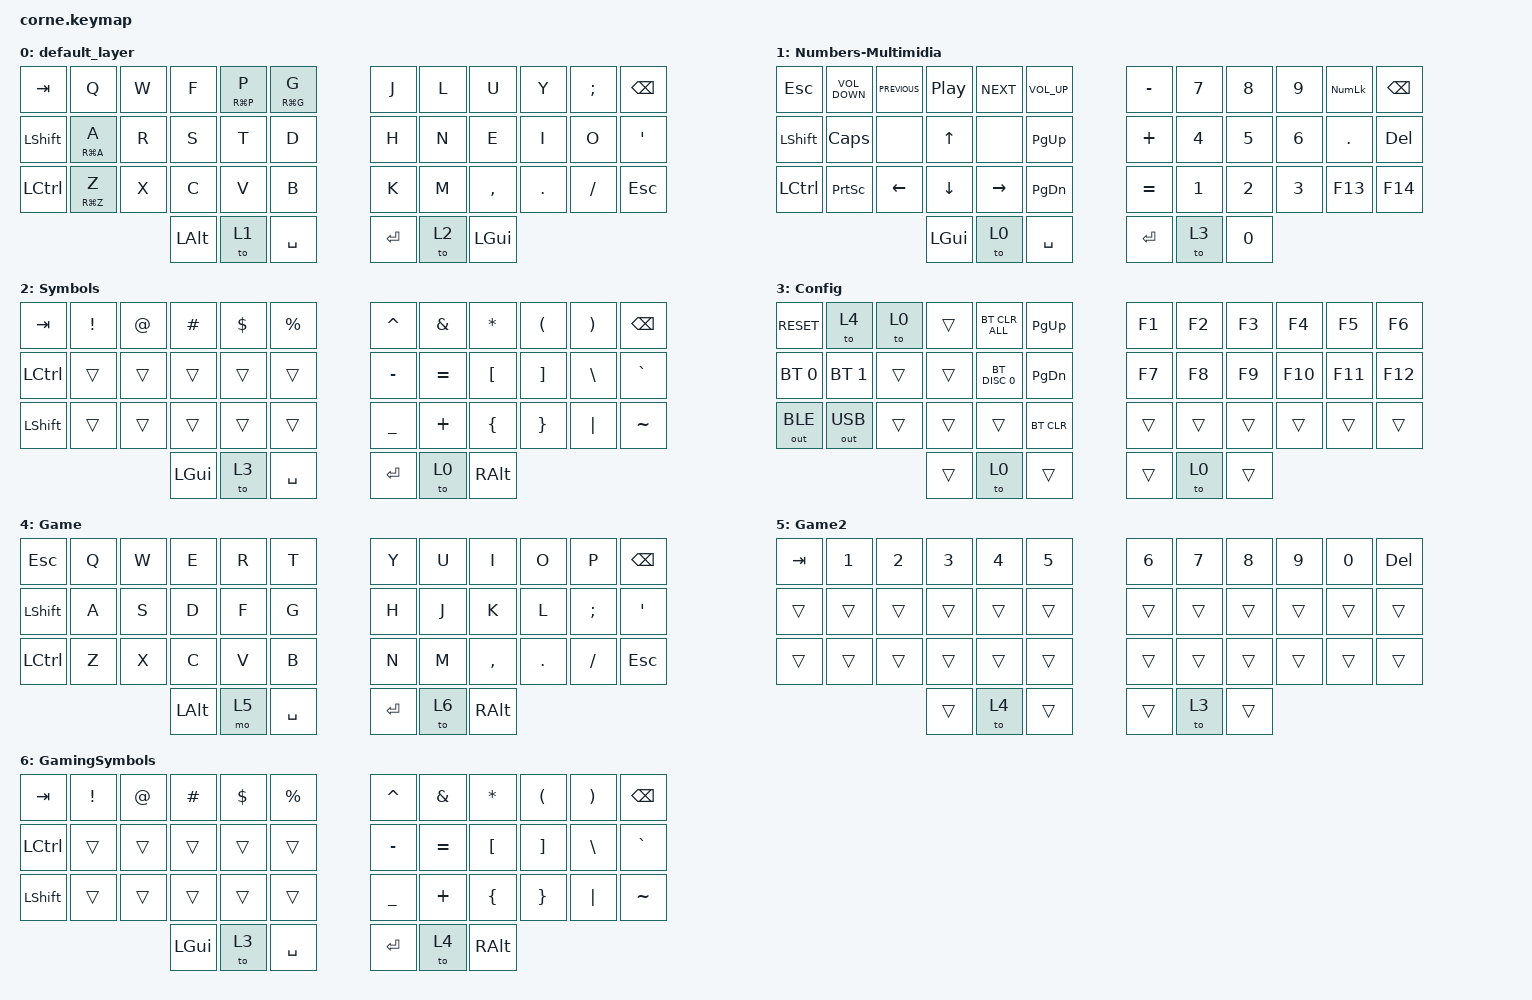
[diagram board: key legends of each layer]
/*
 * Copyright (c) 2020 The ZMK Contributors
 *
 * SPDX-License-Identifier: MIT
 */

#include <behaviors.dtsi>
#include <dt-bindings/zmk/bt.h>
#include <dt-bindings/zmk/keys.h>
#include <dt-bindings/zmk/outputs.h>

/ {
    behaviors {
        new_behavior: new_behavior {
            compatible = "zmk,behavior-hold-tap";
            label = "NEW_BEHAVIOR";
            bindings = <&none>, <&none>;

            #binding-cells = <2>;
            tapping-term-ms = <200>;
        };
    };

    keymap {
        compatible = "zmk,keymap";

        default_layer {
            // -----------------------------------------------------------------------------------------
            // |  TAB |  Q  |  W  |  E  |  R  |  T  |   |  Y  |  U   |  I  |  O  |  P  | BKSP |
            // | CTRL |  A  |  S  |  D  |  F  |  G  |   |  H  |  J   |  K  |  L  |  ;  |  '   |
            // | SHFT |  Z  |  X  |  C  |  V  |  B  |   |  N  |  M   |  ,  |  .  |  /  | ESC  |
            //                    | GUI | LWR | SPC |   | ENT | RSE  | ALT |

            bindings = <
&kp TAB           &kp Q        &kp W  &kp F         &mt RG(P) P  &mt RG(G) G    &kp J    &kp L  &kp U         &kp Y    &kp SEMICOLON  &kp BSPC
&kp LEFT_SHIFT    &mt RG(A) A  &kp R  &kp S         &kp T        &kp D          &kp H    &kp N  &kp E         &kp I    &kp O          &kp SQT
&kp LEFT_CONTROL  &mt RG(Z) Z  &kp X  &kp C         &kp V        &kp B          &kp K    &kp M  &kp COMMA     &kp DOT  &kp FSLH       &kp ESC
                                      &kp LEFT_ALT  &to 1        &kp SPACE      &kp RET  &to 2  &kp LEFT_GUI
            >;
        };

        Numbers-Multimidia {
            // -----------------------------------------------------------------------------------------
            // |  TAB |  1  |  2  |  3  |  4  |  5  |   |  6  |  7  |  8  |  9  |  0  | BKSP |
            // | BTCLR| BT1 | BT2 | BT3 | BT4 | BT5 |   | LFT | DWN |  UP | RGT |     |      |
            // | SHFT |     |     |     |     |     |   |     |     |     |     |     |      |
            //                    | GUI |     | SPC |   | ENT |     | ALT |

            bindings = <
&kp ESCAPE        &kp C_VOLUME_DOWN  &kp C_PREVIOUS  &kp C_PLAY_PAUSE  &kp C_NEXT       &kp C_VOLUME_UP    &kp MINUS  &kp N7        &kp N8        &kp N9        &kp KP_NUMLOCK  &kp BSPC
&kp LEFT_SHIFT    &kp CAPSLOCK       &none           &kp UP_ARROW      &none            &kp PAGE_UP        &kp PLUS   &kp NUMBER_4  &kp N5        &kp NUMBER_6  &kp PERIOD      &kp DELETE
&kp LEFT_CONTROL  &kp PRINTSCREEN    &kp LEFT_ARROW  &kp DOWN_ARROW    &kp RIGHT_ARROW  &kp PAGE_DOWN      &kp EQUAL  &kp NUMBER_1  &kp NUMBER_2  &kp NUMBER_3  &kp F13         &kp F14
                                                     &kp LGUI          &to 0            &kp SPACE          &kp RET    &to 3         &kp N0
            >;
        };

        Symbols {
            // -----------------------------------------------------------------------------------------
            // |  TAB |  !  |  @  |  #  |  $  |  %  |   |  ^  |  &  |  *  |  (  |  )  | BKSP |
            // | CTRL |     |     |     |     |     |   |  -  |  =  |  [  |  ]  |  \  |  `   |
            // | SHFT |     |     |     |     |     |   |  _  |  +  |  {  |  }  | "|" |  ~   |
            //                    | GUI |     | SPC |   | ENT |     | ALT |

            bindings = <
&kp TAB    &kp EXCL  &kp AT  &kp HASH  &kp DLLR  &kp PRCNT    &kp CARET  &kp AMPS   &kp ASTRK  &kp LPAR  &kp RPAR  &kp BSPC
&kp LCTRL  &trans    &trans  &trans    &trans    &trans       &kp MINUS  &kp EQUAL  &kp LBKT   &kp RBKT  &kp BSLH  &kp GRAVE
&kp LSHFT  &trans    &trans  &trans    &trans    &trans       &kp UNDER  &kp PLUS   &kp LBRC   &kp RBRC  &kp PIPE  &kp TILDE
                             &kp LGUI  &to 3     &kp SPACE    &kp RET    &to 0      &kp RALT
            >;
        };

        Config {
            bindings = <
&kp C_RESET   &to 4         &to 0   &trans  &bt BT_CLR_ALL  &kp PAGE_UP      &kp F1  &kp F2  &kp F3  &kp F4   &kp F5   &kp F6
&bt BT_SEL 0  &bt BT_SEL 1  &trans  &trans  &bt BT_DISC 0   &kp PAGE_DOWN    &kp F7  &kp F8  &kp F9  &kp F10  &kp F11  &kp F12
&out OUT_BLE  &out OUT_USB  &trans  &trans  &trans          &bt BT_CLR       &trans  &trans  &trans  &trans   &trans   &trans
                                    &trans  &to 0           &trans           &trans  &to 0   &trans
            >;
        };

        Game {
            bindings = <
&kp ESC    &kp Q  &kp W  &kp E     &kp R  &kp T        &kp Y    &kp U  &kp I      &kp O    &kp P     &kp BSPC
&kp LSHFT  &kp A  &kp S  &kp D     &kp F  &kp G        &kp H    &kp J  &kp K      &kp L    &kp SEMI  &kp SQT
&kp LCTRL  &kp Z  &kp X  &kp C     &kp V  &kp B        &kp N    &kp M  &kp COMMA  &kp DOT  &kp FSLH  &kp ESC
                         &kp LALT  &mo 5  &kp SPACE    &kp RET  &to 6  &kp RALT
            >;
        };

        Game2 {
            bindings = <
&kp TAB  &kp N1  &kp N2  &kp N3  &kp N4  &kp N5    &kp N6  &kp N7  &kp N8  &kp N9  &kp N0  &kp DEL
&trans   &trans  &trans  &trans  &trans  &trans    &trans  &trans  &trans  &trans  &trans  &trans
&trans   &trans  &trans  &trans  &trans  &trans    &trans  &trans  &trans  &trans  &trans  &trans
                         &trans  &to 4   &trans    &trans  &to 3   &trans
            >;
        };

        GamingSymbols {
            bindings = <
&kp TAB    &kp EXCL  &kp AT  &kp HASH  &kp DLLR  &kp PRCNT    &kp CARET  &kp AMPS   &kp ASTRK  &kp LPAR  &kp RPAR  &kp BSPC
&kp LCTRL  &trans    &trans  &trans    &trans    &trans       &kp MINUS  &kp EQUAL  &kp LBKT   &kp RBKT  &kp BSLH  &kp GRAVE
&kp LSHFT  &trans    &trans  &trans    &trans    &trans       &kp UNDER  &kp PLUS   &kp LBRC   &kp RBRC  &kp PIPE  &kp TILDE
                             &kp LGUI  &to 3     &kp SPACE    &kp RET    &to 4      &kp RALT
            >;
        };
    };
};
